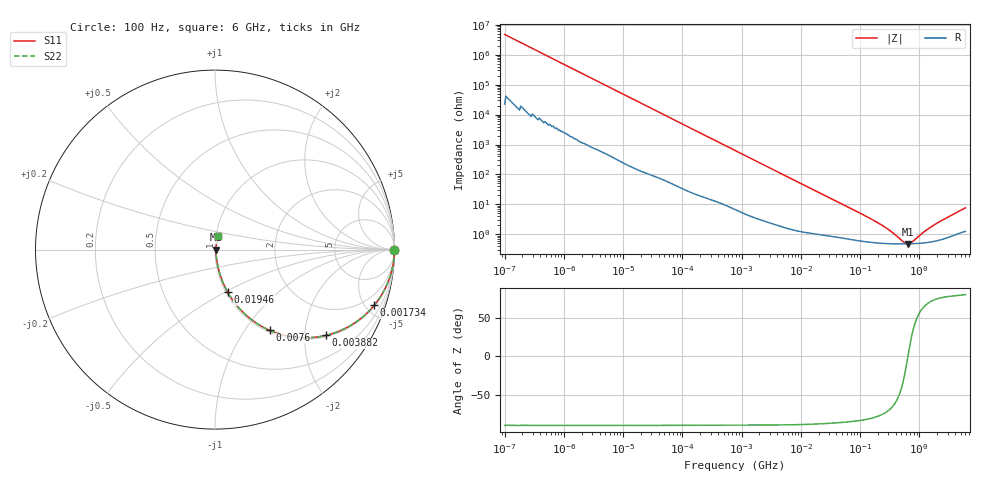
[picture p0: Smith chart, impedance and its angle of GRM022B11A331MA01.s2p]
!Murata Part Number: GRM022B11A331MA01
!These Parameters are Measured in Series Mode Connection
!Data Generated on Mar 30, 2021
!  o--ll--o
!Port1  Port2
!  o------o
!Operation Temp=25[degC], DC Bias Voltage=0[V]
!Freq. Start=100[Hz] Stop=6[GHz] 401[Steps]
# Hz S RI R 50
!Freq.(Hz) S11(Real) S11(Imag) S21(Real) S21(Imag) S12(Real) S12(Imag) S22(Real) S22(Imag)
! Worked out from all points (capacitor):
!   401 points, 100 Hz to 6 GHz, reference 50 ohm
!   read as one part in series: C = 335 pF near 109 Hz
!   lowest |Z| = 482 mohm at 639.6 MHz (marker M1)
!   series resonance near 642.7 MHz, so ESL is about 180 pH
!   S11 on the Smith chart (normalised r, x): 100 Hz: open; 1.734 MHz: 1.07, -5.69; 3.882 MHz: 1.04, -2.56; 7.6 MHz: 1.03, -1.31; 19.46 MHz: 1.02, -0.52; 6 GHz: 1.03, +0.15
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100  1 -2.11e-05  1e-07 2.11e-05  1e-07 2.11e-05  1 -2.11e-05
479  1 -0.0001  6e-07 0.0001  6e-07 0.0001  1 -0.0001
2008  1 -0.000419  2.2e-06 0.000419  2.2e-06 0.000419  1 -0.000419
40335  0.9999 -0.00833  0.000122 0.00833  0.000122 0.00833  0.9999 -0.00833
241822  0.9971 -0.0494  0.00286 0.0494  0.00286 0.0494  0.9971 -0.0494
774597  0.9742 -0.1533  0.0258 0.1533  0.0258 0.1533  0.9742 -0.1533
1734173  0.8872 -0.3103  0.1128 0.3103  0.1128 0.3103  0.8872 -0.3103
2594782  0.7812 -0.4065  0.2188 0.4065  0.2188 0.4065  0.7812 -0.4065
3882480  0.6186 -0.4778  0.3814 0.4778  0.3814 0.4778  0.6186 -0.4778
5311619  0.4679 -0.4901  0.5321 0.4901  0.5321 0.4901  0.4679 -0.4901
7599586  0.3048 -0.4499  0.6952 0.4499  0.6952 0.4499  0.3048 -0.4499
1.555665e7  0.1018 -0.2863  0.8982 0.2863  0.8982 0.2863  0.1018 -0.2863
1.946e7  0.0706 -0.2375  0.9294 0.2375  0.9294 0.2375  0.0706 -0.2375
5.960426e7  0.0141 -0.0837  0.9859 0.0837  0.9859 0.0837  0.0141 -0.0837
1.669249e8  0.00612 -0.029  0.9939 0.029  0.9939 0.029  0.00612 -0.029
3.124326e8  0.00502 -0.0128  0.995 0.0128  0.995 0.0128  0.00502 -0.0128
5.346885e8  0.00478 -0.00303  0.9952 0.00303  0.9952 0.00303  0.00478 -0.00303
6.395615e8  0.0048 -7.87e-05  0.9952 7.87e-05  0.9952 7.87e-05  0.0048 -7.87e-05
7.650043e8  0.00486 0.00287  0.9951 -0.00287  0.9951 -0.00287  0.00486 0.00287
1.197065e9  0.00527 0.0108  0.9947 -0.0108  0.9947 -0.0108  0.00527 0.0108
1.791126e9  0.0062 0.0197  0.9938 -0.0197  0.9938 -0.0197  0.0062 0.0197
6e9  0.0179 0.0736  0.9821 -0.0736  0.9821 -0.0736  0.0179 0.0736
